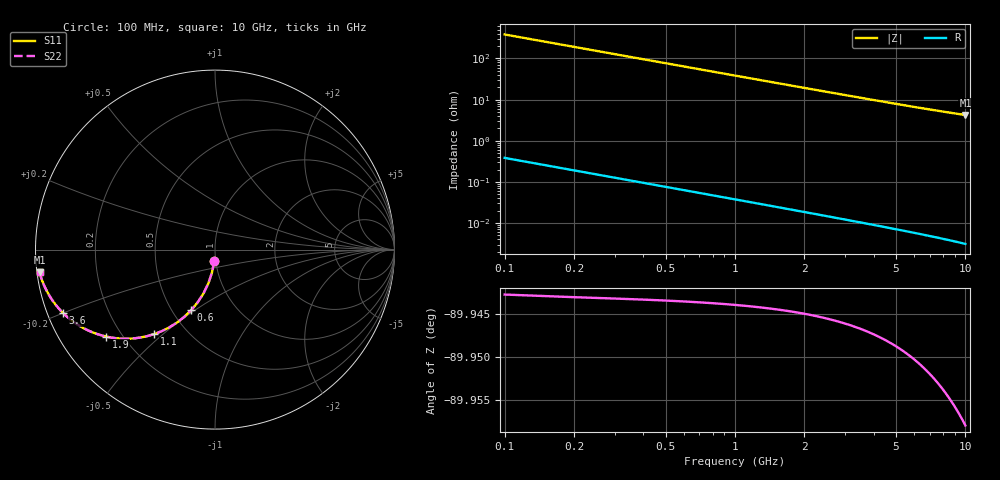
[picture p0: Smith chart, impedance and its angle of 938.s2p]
# Hz S RI R 50.00
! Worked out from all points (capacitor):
!   100 points, 100 MHz to 10 GHz, reference 50 ohm
!   read as one part in shunt: C = 4.15 pF near 100 MHz
!   lowest |Z| = 4.23 ohm at 10 GHz (marker M1)
!   S11 on the Smith chart (normalised r, x): 100 MHz: 0.98, -0.13; 600 MHz: 0.62, -0.48; 1.1 GHz: 0.33, -0.47; 1.9 GHz: 0.14, -0.35; 3.6 GHz: 0.05, -0.20; 10 GHz: 0.01, -0.06
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1e8  -0.00426 -0.0647  0.9957 -0.0651  0.9957 -0.0651  -0.00426 -0.0647
2e8  -0.0168 -0.1278  0.9831 -0.1285  0.9831 -0.1285  -0.0168 -0.1278
3e8  -0.037 -0.1877  0.963 -0.1888  0.963 -0.1888  -0.037 -0.1877
4e8  -0.0638 -0.2433  0.9361 -0.2447  0.9361 -0.2447  -0.0638 -0.2433
5e8  -0.0962 -0.2935  0.9037 -0.2953  0.9037 -0.2953  -0.0962 -0.2935
6e8  -0.1328 -0.3378  0.8671 -0.34  0.8671 -0.34  -0.1328 -0.3378
8e8  -0.2138 -0.4081  0.7861 -0.411  0.7861 -0.411  -0.2138 -0.4081
9e8  -0.256 -0.4343  0.7439 -0.4376  0.7439 -0.4376  -0.256 -0.4343
1.1e9  -0.3393 -0.471  0.6606 -0.475  0.6606 -0.475  -0.3393 -0.471
1.4e9  -0.4539 -0.4948  0.546 -0.4999  0.546 -0.4999  -0.4539 -0.4948
1.8e9  -0.5785 -0.49  0.4214 -0.4966  0.4214 -0.4966  -0.5785 -0.49
1.9e9  -0.6046 -0.485  0.3953 -0.4919  0.3953 -0.4919  -0.6046 -0.485
2.2e9  -0.672 -0.4649  0.3279 -0.473  0.3279 -0.473  -0.672 -0.4649
2.6e9  -0.741 -0.4328  0.2589 -0.4423  0.2589 -0.4423  -0.741 -0.4328
3e9  -0.792 -0.3998  0.2079 -0.4109  0.2079 -0.4109  -0.792 -0.3998
3.4e9  -0.8302 -0.3686  0.1696 -0.3811  0.1696 -0.3811  -0.8302 -0.3686
3.6e9  -0.8457 -0.3539  0.1541 -0.3673  0.1541 -0.3673  -0.8457 -0.3539
4.3e9  -0.8867 -0.3083  0.1131 -0.3243  0.1131 -0.3243  -0.8867 -0.3083
5.1e9  -0.9169 -0.2657  0.0828 -0.2849  0.0828 -0.2849  -0.9169 -0.2657
6.7e9  -0.9504 -0.2034  0.0492 -0.2289  0.0492 -0.2289  -0.9504 -0.2034
8.4e9  -0.9682 -0.1578  0.0312 -0.1905  0.0312 -0.1905  -0.9682 -0.1578
1e10  -0.9776 -0.1264  0.0216 -0.1659  0.0216 -0.1659  -0.9776 -0.1264
